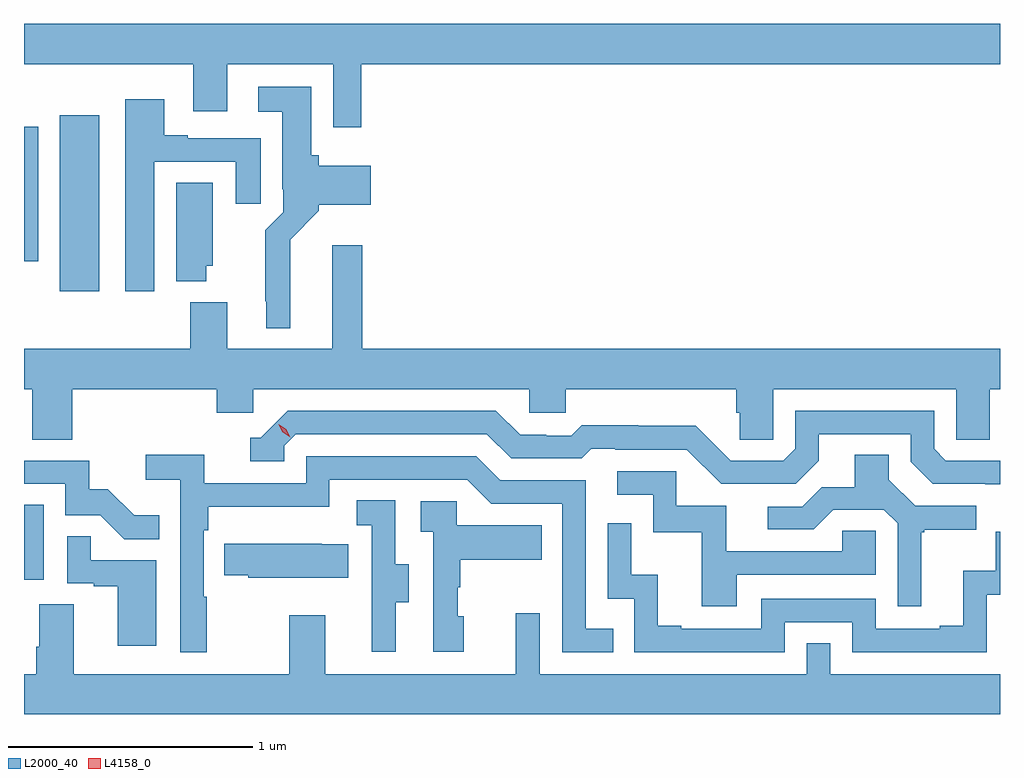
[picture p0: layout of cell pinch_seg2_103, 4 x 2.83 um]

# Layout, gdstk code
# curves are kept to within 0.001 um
import gdstk
lib = gdstk.Library(unit=1e-6, precision=1e-09)
def R(c, l, rs):  # rectangles x0, y0, x1, y1
    for r in rs: c.add(gdstk.rectangle(r[:2], r[2:], *l))
def P(c, l, *ps):  # polygons
    for p in ps: c.add(gdstk.Polygon(p, *l))
L2000_40 = (2000, 40)
L4158_0 = (4158, 0)

pinch_seg2_103 = lib.new_cell('pinch_seg2_103')
R(pinch_seg2_103, L2000_40, [(1046.078,638.862,1046.158,639.169), (1046.225,640.044,1046.386,640.765), (1046.078,640.167,1046.136,640.718)])
P(pinch_seg2_103, L2000_40, [(1046.078,640.976),(1046.771,640.976),(1046.771,640.782),(1046.911,640.782),(1046.911,640.976),(1047.345,640.976),(1047.345,640.716),(1047.461,640.716),(1047.461,640.976),(1050.078,640.976),(1050.078,641.14),(1046.078,641.14)],
  [(1047.169,640.256),(1047.287,640.374),(1047.287,640.4),(1047.499,640.4),(1047.499,640.558),(1047.287,640.558),(1047.287,640.602),(1047.256,640.602),(1047.256,640.882),(1047.039,640.882),(1047.039,640.781),(1047.137,640.781),(1047.137,640.462),(1047.141,640.462),(1047.141,640.368),(1047.067,640.294),(1047.067,640.003),(1047.071,640.003),(1047.071,639.893),(1047.169,639.893)],
  [(1046.611,640.575),(1046.945,640.575),(1046.945,640.404),(1047.049,640.404),(1047.049,640.671),(1046.749,640.671),(1046.749,640.684),(1046.653,640.684),(1046.653,640.831),(1046.492,640.831),(1046.492,640.044),(1046.611,640.044)],
  [(1046.824,640.149),(1046.851,640.149),(1046.851,640.49),(1046.702,640.49),(1046.702,640.085),(1046.824,640.085)],
  [(1046.867,639.546),(1047.018,639.546),(1047.018,639.644),(1048.149,639.644),(1048.149,639.546),(1048.299,639.546),(1048.299,639.644),(1048.997,639.644),(1048.997,639.546),(1049.011,639.546),(1049.011,639.436),(1049.148,639.436),(1049.148,639.644),(1049.898,639.644),(1049.898,639.436),(1050.037,639.436),(1050.037,639.644),(1050.078,639.644),(1050.078,639.808),(1047.464,639.808),(1047.464,640.234),(1047.341,640.234),(1047.341,639.808),(1046.911,639.808),(1046.911,640),(1046.759,640),(1046.759,639.808),(1046.078,639.808),(1046.078,639.644),(1046.111,639.644),(1046.111,639.436),(1046.276,639.436),(1046.276,639.644),(1046.867,639.644)],
  [(1050.078,639.351),(1049.856,639.351),(1049.808,639.399),(1049.808,639.555),(1049.238,639.555),(1049.238,639.399),(1049.19,639.351),(1048.974,639.351),(1048.832,639.493),(1048.596,639.493),(1048.596,639.496),(1048.363,639.496),(1048.321,639.453),(1048.218,639.453),(1048.218,639.456),(1048.111,639.456),(1048.012,639.555),(1047.159,639.555),(1047.048,639.444),(1047.005,639.444),(1047.005,639.348),(1047.144,639.348),(1047.144,639.411),(1047.192,639.459),(1047.975,639.459),(1048.074,639.36),(1048.363,639.36),(1048.402,639.399),(1048.501,639.399),(1048.501,639.396),(1048.794,639.396),(1048.935,639.255),(1049.241,639.255),(1049.335,639.349),(1049.335,639.459),(1049.712,639.459),(1049.712,639.345),(1049.802,639.255),(1050.078,639.254)],
  [(1046.827,638.792),(1046.814,638.792),(1046.814,639.065),(1046.834,639.065),(1046.834,639.161),(1047.33,639.161),(1047.33,639.273),(1047.894,639.273),(1047.993,639.174),(1048.284,639.174),(1048.284,638.565),(1048.493,638.565),(1048.493,638.661),(1048.38,638.661),(1048.38,639.27),(1048.03,639.27),(1047.931,639.369),(1047.234,639.369),(1047.234,639.258),(1046.816,639.258),(1046.816,639.374),(1046.577,639.374),(1046.577,639.272),(1046.718,639.272),(1046.718,638.565),(1046.827,638.565)],
  [(1049.755,639.057),(1049.767,639.057),(1049.767,639.068),(1049.98,639.068),(1049.98,639.165),(1049.73,639.165),(1049.623,639.272),(1049.623,639.374),(1049.483,639.374),(1049.483,639.242),(1049.348,639.242),(1049.268,639.162),(1049.127,639.162),(1049.127,639.069),(1049.314,639.069),(1049.395,639.15),(1049.601,639.15),(1049.658,639.093),(1049.658,638.754),(1049.755,638.754)],
  [(1046.633,639.127),(1046.529,639.127),(1046.422,639.234),(1046.346,639.234),(1046.346,639.351),(1046.078,639.351),(1046.078,639.255),(1046.247,639.255),(1046.247,639.126),(1046.391,639.126),(1046.489,639.028),(1046.633,639.028)],
  [(1048.999,638.883),(1049.568,638.883),(1049.568,639.063),(1049.431,639.063),(1049.431,638.979),(1048.957,638.979),(1048.957,639.165),(1048.752,639.165),(1048.752,639.306),(1048.509,639.306),(1048.509,639.21),(1048.656,639.21),(1048.656,639.057),(1048.855,639.057),(1048.855,638.754),(1048.999,638.754)],
  [(1047.601,638.77),(1047.655,638.77),(1047.655,638.925),(1047.6,638.925),(1047.6,639.188),(1047.441,639.188),(1047.441,639.085),(1047.504,639.085),(1047.504,638.781),(1047.503,638.781),(1047.503,638.568),(1047.601,638.568)],
  [(1047.88,638.712),(1047.855,638.712),(1047.855,638.831),(1047.865,638.831),(1047.865,638.945),(1048.199,638.945),(1048.199,639.085),(1047.852,639.085),(1047.852,639.183),(1047.705,639.183),(1047.705,639.059),(1047.756,639.059),(1047.756,638.568),(1047.88,638.568)],
  [(1049.196,638.688),(1049.472,638.688),(1049.472,638.565),(1050.024,638.565),(1050.024,638.801),(1050.078,638.801),(1050.078,639.06),(1050.06,639.06),(1050.06,638.899),(1049.927,638.899),(1049.927,638.674),(1049.831,638.674),(1049.831,638.661),(1049.568,638.661),(1049.568,638.784),(1049.1,638.784),(1049.1,638.661),(1048.771,638.661),(1048.771,638.674),(1048.676,638.674),(1048.676,638.882),(1048.566,638.882),(1048.566,639.094),(1048.47,639.094),(1048.47,638.784),(1048.578,638.784),(1048.578,638.565),(1049.196,638.565)],
  [(1046.62,638.943),(1046.351,638.943),(1046.351,639.041),(1046.256,639.041),(1046.256,638.847),(1046.363,638.847),(1046.363,638.835),(1046.462,638.835),(1046.462,638.592),(1046.62,638.592)],
  [(1047.407,639.007),(1047.299,639.007),(1047.299,639.01),(1046.899,639.01),(1046.899,638.881),(1046.997,638.881),(1046.997,638.87),(1047.407,638.87)],
  [(1050.078,638.476),(1049.382,638.476),(1049.382,638.603),(1049.286,638.603),(1049.286,638.476),(1048.191,638.476),(1048.191,638.725),(1048.094,638.725),(1048.094,638.476),(1047.313,638.476),(1047.313,638.716),(1047.166,638.716),(1047.166,638.476),(1046.281,638.476),(1046.281,638.762),(1046.141,638.762),(1046.141,638.588),(1046.129,638.588),(1046.129,638.476),(1046.078,638.476),(1046.078,638.312),(1050.078,638.312)])
P(pinch_seg2_103, L4158_0, [(1047.169,639.446),(1047.138,639.466),(1047.122,639.498),(1047.122,639.499),(1047.122,639.499),(1047.153,639.479),(1047.169,639.446),(1047.169,639.446)])

lib.write_gds('pinch_seg2_103.gds')
